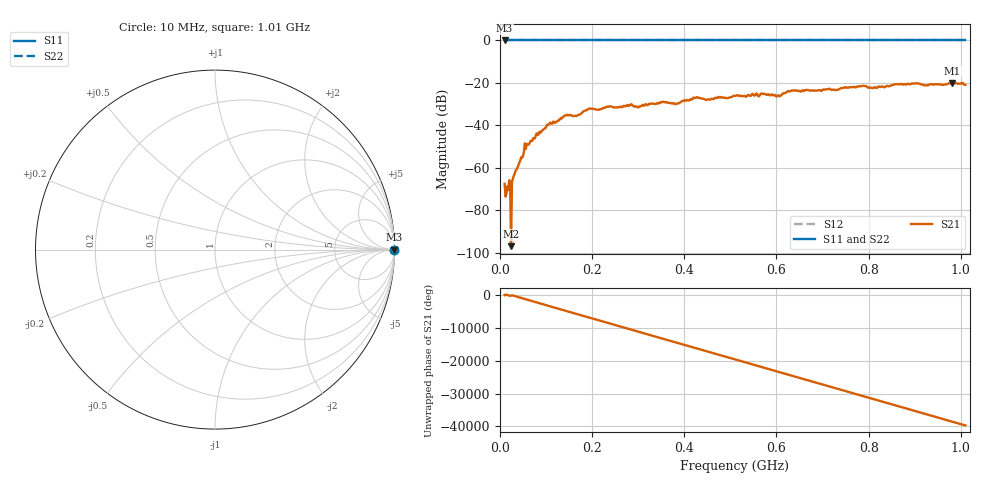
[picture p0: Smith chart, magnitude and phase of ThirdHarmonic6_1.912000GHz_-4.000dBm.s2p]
! 8/16/2025 11:03:43 PM
! C:\ANRITSUVNA\TEMP\TEMP.S2P
! CHANNEL.1
! TR.MEASUREMENT
! RAW.DATA
! RF.CORRECTION.OFF
! AVERAGING.OFF
! IF.BANDWIDTH: 5KHZ
! SWEEPTYPE:  FREQ.SWEEP(Linear)
! Reference Plane Port Info
! PORT:  PORT1  PORT2
! DISTANCE:  0  m  0  m
! TIME:  0  s  0  s
! PHASE.OFFSET:  0  deg.  0  deg.
! LOSS:  0  dB  0  dB
! REF.LOSS:  0  dB  0  dB
! REF.FREQ:  0  Hz  0  Hz
! Power Info
! POWER:  -20  dBm  -20  dBm
! EFF.POWER:  -20  dBm  -20  dBm
! SOURCE.ATTEN:  0  dB  0  dB
! TEST.ATTEN:  0  dB  0  dB
# GHZ S RI R 50.0
! FREQ.GHZ  S11RE  S11IM  S21RE  S21IM  S12RE  S12IM  S22RE  S22IM
!; PortSelection: Port_12
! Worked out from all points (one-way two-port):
!   501 points, 10 MHz to 1.01 GHz, reference 50 ohm
!   highest |S21| = -19.98 dB at 982 MHz (marker M1); lowest = -96.9 dB at 24 MHz (marker M2)
!   lowest |S11| = 0.0 dB at 10 MHz (marker M3)
!   |S11| at or under -10 dB: nowhere
!   |S22| runs from 0.0 to 0.0 dB; largest |S21 - S12| = 1.1
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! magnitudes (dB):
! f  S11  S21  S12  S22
! 10 MHz  0.0  -67.5  0.0  0.0
! 14 MHz  0.0  -72.2  0.0  0.0
! 18 MHz  0.0  -70.5  0.0  0.0
! 20 MHz  0.0  -65.8  0.0  0.0
! 24 MHz  0.0  -96.9  0.0  0.0
! 28 MHz  0.0  -65.2  0.0  0.0
! 30 MHz  0.0  -63.7  0.0  0.0
! 32 MHz  0.0  -62.6  0.0  0.0
! 58 MHz  0.0  -48.8  0.0  0.0
! 106 MHz  0.0  -39.7  0.0  0.0
! 142 MHz  0.0  -35.4  0.0  0.0
! 178 MHz  0.0  -34.1  0.0  0.0
! 196 MHz  0.0  -32.1  0.0  0.0
! 344 MHz  0.0  -29.7  0.0  0.0
! 384 MHz  0.0  -29.7  0.0  0.0
! 510 MHz  0.0  -26.0  0.0  0.0
! 604 MHz  0.0  -25.7  0.0  0.0
! 630 MHz  0.0  -24.0  0.0  0.0
! 678 MHz  0.0  -23.5  0.0  0.0
! 844 MHz  0.0  -21.6  0.0  0.0
! 982 MHz  0.0  -20.0  0.0  0.0
! 1.01 GHz  0.0  -20.9  0.0  0.0
